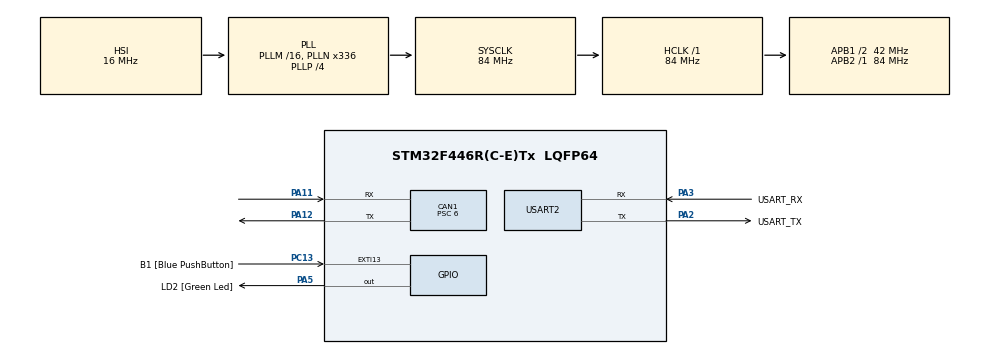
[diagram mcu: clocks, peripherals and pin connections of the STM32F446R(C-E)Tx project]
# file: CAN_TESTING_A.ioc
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CAN1.BS1=CAN_BS1_11TQ
CAN1.BS2=CAN_BS2_2TQ
CAN1.CalculateBaudRate=500000
CAN1.CalculateTimeBit=2000
CAN1.CalculateTimeQuantum=142.85714285714286
CAN1.Prescaler=6
Mcu.Family=STM32F4
Mcu.Name=STM32F446R(C-E)Tx
Mcu.Package=LQFP64
NVIC.PriorityGroup=NVIC_PRIORITYGROUP_0
PA11.GPIO_PuPd=GPIO_PULLUP
PA11.Mode=CAN_Activate
PA11.Signal=CAN1_RX
PA12.Mode=CAN_Activate
PA12.Signal=CAN1_TX
PA13.GPIO_Label=TMS
PA13.Mode=Serial_Wire
PA13.Signal=SYS_JTMS-SWDIO
PA14.GPIO_Label=TCK
PA14.Mode=Serial_Wire
PA14.Signal=SYS_JTCK-SWCLK
PA2.GPIO_Label=USART_TX
PA2.Mode=Asynchronous
PA2.Signal=USART2_TX
PA3.GPIO_Label=USART_RX
PA3.Mode=Asynchronous
PA3.Signal=USART2_RX
PA5.GPIO_Label=LD2 [Green Led]
PA5.Signal=GPIO_Output
PB3.GPIO_Label=SWO
PB3.Signal=SYS_JTDO-SWO
PC13.GPIO_Label=B1 [Blue PushButton]
PC13.GPIO_ModeDefaultEXTI=GPIO_MODE_IT_FALLING
PC13.Signal=GPXTI13
PC14-OSC32_IN.Mode=LSE-External-Oscillator
PC14-OSC32_IN.Signal=RCC_OSC32_IN
PC15-OSC32_OUT.Mode=LSE-External-Oscillator
PC15-OSC32_OUT.Signal=RCC_OSC32_OUT
PH0-OSC_IN.Mode=HSE-External-Oscillator
PH0-OSC_IN.Signal=RCC_OSC_IN
PH1-OSC_OUT.Mode=HSE-External-Oscillator
PH1-OSC_OUT.Signal=RCC_OSC_OUT
ProjectManager.HeapSize=0x200
ProjectManager.StackSize=0x400
ProjectManager.TargetToolchain=STM32CubeIDE
RCC.48MHZClocksFreq_Value=84000000
RCC.AHBFreq_Value=84000000
RCC.APB1CLKDivider=RCC_HCLK_DIV2
RCC.APB1Freq_Value=42000000
RCC.APB1TimFreq_Value=84000000
RCC.APB2Freq_Value=84000000
RCC.APB2TimFreq_Value=84000000
RCC.CortexFreq_Value=84000000
RCC.FLatency-AdvancedSettings=FLASH_LATENCY_2
RCC.HCLKFreq_Value=84000000
RCC.HSE_VALUE=8000000
RCC.HSI_VALUE=16000000
RCC.PLLN=336
RCC.PLLP=RCC_PLLP_DIV4
RCC.SYSCLKFreq_VALUE=84000000
RCC.SYSCLKSource=RCC_SYSCLKSOURCE_PLLCLK
RCC.USBFreq_Value=168000000
RCC.VCOOutputFreq_Value=336000000
USART2.VirtualMode=VM_ASYNC
board=NUCLEO-F446RE

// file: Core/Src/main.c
/* USER CODE BEGIN Header */
/**
  ******************************************************************************
  * @file           : main.c
  * @brief          : Main program body
  ******************************************************************************
  * @attention
  *
  * Copyright (c) 2025 STMicroelectronics.
  * All rights reserved.
  *
  * This software is licensed under terms that can be found in the LICENSE file
  * in the root directory of this software component.
  * If no LICENSE file comes with this software, it is provided AS-IS.
  *
  ******************************************************************************
  */
/* USER CODE END Header */
#include "main.h"

CAN_HandleTypeDef hcan1;

UART_HandleTypeDef huart2;

/* USER CODE BEGIN PV */
uint8_t TxData[8];
uint8_t RxData[48][8];
uint8_t RxIndex;

uint32_t TxMailbox;

CAN_TxHeaderTypeDef TxHeaderB;
CAN_TxHeaderTypeDef TxHeaderC;

CAN_TxHeaderTypeDef TxHeaderWireless;
CAN_RxHeaderTypeDef RxHeader;

uint32_t mailbox;
HAL_StatusTypeDef st;
HAL_StatusTypeDef startStatus;
HAL_CAN_StateTypeDef canState;
uint32_t canErr;
/* USER CODE END PV */

void SystemClock_Config(void);
static void MX_GPIO_Init(void);
static void MX_USART2_UART_Init(void);
static void MX_CAN1_Init(void);

/* USER CODE BEGIN 0 */
void HAL_CAN_RxFifo0MsgPendingCallback(CAN_HandleTypeDef *hcan) {
  HAL_CAN_GetRxMessage(&hcan1, CAN_RX_FIFO0, &RxHeader, RxData[RxIndex]);

  RxIndex = (RxIndex + 1) % 48;

}
/* USER CODE END 0 */

int main(void)
{

  /* MCU Configuration--------------------------------------------------------*/

  /* Reset of all peripherals, Initializes the Flash interface and the Systick. */
  HAL_Init();

  /* Configure the system clock */
  SystemClock_Config();

  /* Initialize all configured peripherals */
  MX_GPIO_Init();
  MX_USART2_UART_Init();
  MX_CAN1_Init();
  /* USER CODE BEGIN 2 */
  startStatus = HAL_CAN_Start(&hcan1);
  canState = HAL_CAN_GetState(&hcan1);
  canErr = HAL_CAN_GetError(&hcan1);
  HAL_CAN_ActivateNotification(&hcan1, CAN_IT_RX_FIFO0_MSG_PENDING);

  TxHeaderB.DLC = 8; //data length
  TxHeaderB.IDE = CAN_ID_STD;
  TxHeaderB.RTR = CAN_RTR_DATA;
  TxHeaderB.StdId = 0x7E3; // my id

  TxHeaderC.DLC = 8; //data length
  TxHeaderC.IDE = CAN_ID_STD;
  TxHeaderC.RTR = CAN_RTR_DATA;
  TxHeaderC.StdId = 0x7E4; // my id

  TxHeaderWireless.DLC = 8;
  TxHeaderWireless.IDE = CAN_ID_STD;
  TxHeaderWireless.RTR = CAN_RTR_DATA;
  TxHeaderWireless.StdId = 0x7E5; // my id

  for(int i = 0; i < 48; i++){
	  for(int j = 0; j < 8; j++)
		  RxData[i][j] = 0x0;
    }

  for(int i = 0; i < 8; i++){
	  TxData[i] = i;
  }

  st = HAL_CAN_AddTxMessage(&hcan1, &TxHeaderWireless, TxData, &mailbox);
  if (st != HAL_OK) {
      // Could not even queue the message
  }

  while (HAL_CAN_IsTxMessagePending(&hcan1, mailbox)) {
      // wait for this transmit attempt to finish
  }

  canState = HAL_CAN_GetState(&hcan1);
  canErr = HAL_CAN_GetError(&hcan1);

  if (canErr == HAL_CAN_ERROR_NONE) {
      // Transmit attempt completed successfully
      // On a normal CAN bus, that means some other node ACKed it
  } else {
      // Transmit attempt failed
      // Possible reasons include no ACK, arbitration loss, bus errors, etc.
  }
//  HAL_CAN_AddTxMessage(&hcan1, &TxHeaderB, TxData, &TxMailbox);
//
//  TxData[0] = 0x06;
//  HAL_CAN_AddTxMessage(&hcan1, &TxHeaderC, TxData, &TxMailbox);
//
//  TxData[0] = 0x07;
//  HAL_CAN_AddTxMessage(&hcan1, &TxHeaderB, TxData, &TxMailbox);
  /* USER CODE END 2 */

  /* Infinite loop */
  while (1)
  {

    /* USER CODE BEGIN 3 */
	HAL_Delay(100);
//	HAL_CAN_AddTxMessage(&hcan1, &TxHeaderWireless, TxData, &TxMailbox);
	st = HAL_CAN_AddTxMessage(&hcan1, &TxHeaderWireless, TxData, &mailbox);
	if (st != HAL_OK) {
	    // Could not even queue the message
	}

	while (HAL_CAN_IsTxMessagePending(&hcan1, mailbox)) {
	    // wait for this transmit attempt to finish
	}

	canState = HAL_CAN_GetState(&hcan1);
	canErr = HAL_CAN_GetError(&hcan1);

	if (canErr == HAL_CAN_ERROR_NONE) {
	    // Transmit attempt completed successfully
	    // On a normal CAN bus, that means some other node ACKed it
	} else {
	    // Transmit attempt failed
	    // Possible reasons include no ACK, arbitration loss, bus errors, etc.
	}
//	TxData[0] = (TxData[0] + 1) % 40;
//	if(TxData[0] % 2 == 1)
//		HAL_CAN_AddTxMessage(&hcan1, &TxHeaderB, TxData, &TxMailbox);
//	else
//		HAL_CAN_AddTxMessage(&hcan1, &TxHeaderC, TxData, &TxMailbox);

  }
  /* USER CODE END 3 */
}

void SystemClock_Config(void)
{
  RCC_OscInitTypeDef RCC_OscInitStruct = {0};
  RCC_ClkInitTypeDef RCC_ClkInitStruct = {0};

  /** Configure the main internal regulator output voltage
  */
  __HAL_RCC_PWR_CLK_ENABLE();
  __HAL_PWR_VOLTAGESCALING_CONFIG(PWR_REGULATOR_VOLTAGE_SCALE3);

  /** Initializes the RCC Oscillators according to the specified parameters
  * in the RCC_OscInitTypeDef structure.
  */
  RCC_OscInitStruct.OscillatorType = RCC_OSCILLATORTYPE_HSI;
  RCC_OscInitStruct.HSIState = RCC_HSI_ON;
  RCC_OscInitStruct.HSICalibrationValue = RCC_HSICALIBRATION_DEFAULT;
  RCC_OscInitStruct.PLL.PLLState = RCC_PLL_ON;
  RCC_OscInitStruct.PLL.PLLSource = RCC_PLLSOURCE_HSI;
  RCC_OscInitStruct.PLL.PLLM = 16;
  RCC_OscInitStruct.PLL.PLLN = 336;
  RCC_OscInitStruct.PLL.PLLP = RCC_PLLP_DIV4;
  RCC_OscInitStruct.PLL.PLLQ = 2;
  RCC_OscInitStruct.PLL.PLLR = 2;
  if (HAL_RCC_OscConfig(&RCC_OscInitStruct) != HAL_OK)
  {
    Error_Handler();
  }

  /** Initializes the CPU, AHB and APB buses clocks
  */
  RCC_ClkInitStruct.ClockType = RCC_CLOCKTYPE_HCLK|RCC_CLOCKTYPE_SYSCLK
                              |RCC_CLOCKTYPE_PCLK1|RCC_CLOCKTYPE_PCLK2;
  RCC_ClkInitStruct.SYSCLKSource = RCC_SYSCLKSOURCE_PLLCLK;
  RCC_ClkInitStruct.AHBCLKDivider = RCC_SYSCLK_DIV1;
  RCC_ClkInitStruct.APB1CLKDivider = RCC_HCLK_DIV2;
  RCC_ClkInitStruct.APB2CLKDivider = RCC_HCLK_DIV1;

  if (HAL_RCC_ClockConfig(&RCC_ClkInitStruct, FLASH_LATENCY_2) != HAL_OK)
  {
    Error_Handler();
  }
}

static void MX_CAN1_Init(void)
{

  hcan1.Instance = CAN1;
  hcan1.Init.Prescaler = 6;
  hcan1.Init.Mode = CAN_MODE_NORMAL;
  hcan1.Init.SyncJumpWidth = CAN_SJW_1TQ;
  hcan1.Init.TimeSeg1 = CAN_BS1_11TQ;
  hcan1.Init.TimeSeg2 = CAN_BS2_2TQ;
  hcan1.Init.TimeTriggeredMode = DISABLE;
  hcan1.Init.AutoBusOff = DISABLE;
  hcan1.Init.AutoWakeUp = DISABLE;
  hcan1.Init.AutoRetransmission = DISABLE;
  hcan1.Init.ReceiveFifoLocked = DISABLE;
  hcan1.Init.TransmitFifoPriority = DISABLE;
  if (HAL_CAN_Init(&hcan1) != HAL_OK)
  {
    Error_Handler();
  }
  /* USER CODE BEGIN CAN1_Init 2 */
  CAN_FilterTypeDef sFilter = {0};
  sFilter.FilterBank = 0;                         // 0..13 on single CAN instance devices
  sFilter.FilterMode = CAN_FILTERMODE_IDMASK;
  sFilter.FilterScale = CAN_FILTERSCALE_32BIT;
  sFilter.FilterIdHigh = 0x0000;
  sFilter.FilterIdLow  = 0x0000;
  sFilter.FilterMaskIdHigh = 0x0000;
  sFilter.FilterMaskIdLow  = 0x0000;
  sFilter.FilterFIFOAssignment = CAN_RX_FIFO0;
  sFilter.FilterActivation = ENABLE;
  sFilter.SlaveStartFilterBank = 14;              // keep default split
  HAL_CAN_ConfigFilter(&hcan1, &sFilter);
  /* USER CODE END CAN1_Init 2 */

}

static void MX_USART2_UART_Init(void)
{

  huart2.Instance = USART2;
  huart2.Init.BaudRate = 115200;
  huart2.Init.WordLength = UART_WORDLENGTH_8B;
  huart2.Init.StopBits = UART_STOPBITS_1;
  huart2.Init.Parity = UART_PARITY_NONE;
  huart2.Init.Mode = UART_MODE_TX_RX;
  huart2.Init.HwFlowCtl = UART_HWCONTROL_NONE;
  huart2.Init.OverSampling = UART_OVERSAMPLING_16;
  if (HAL_UART_Init(&huart2) != HAL_OK)
  {
    Error_Handler();
  }

}

static void MX_GPIO_Init(void)
{
  GPIO_InitTypeDef GPIO_InitStruct = {0};

  /* GPIO Ports Clock Enable */
  __HAL_RCC_GPIOC_CLK_ENABLE();
  __HAL_RCC_GPIOH_CLK_ENABLE();
  __HAL_RCC_GPIOA_CLK_ENABLE();
  __HAL_RCC_GPIOB_CLK_ENABLE();

  /*Configure GPIO pin Output Level */
  HAL_GPIO_WritePin(LD2_GPIO_Port, LD2_Pin, GPIO_PIN_RESET);

  /*Configure GPIO pin : B1_Pin */
  GPIO_InitStruct.Pin = B1_Pin;
  GPIO_InitStruct.Mode = GPIO_MODE_IT_FALLING;
  GPIO_InitStruct.Pull = GPIO_NOPULL;
  HAL_GPIO_Init(B1_GPIO_Port, &GPIO_InitStruct);

  /*Configure GPIO pin : LD2_Pin */
  GPIO_InitStruct.Pin = LD2_Pin;
  GPIO_InitStruct.Mode = GPIO_MODE_OUTPUT_PP;
  GPIO_InitStruct.Pull = GPIO_NOPULL;
  GPIO_InitStruct.Speed = GPIO_SPEED_FREQ_LOW;
  HAL_GPIO_Init(LD2_GPIO_Port, &GPIO_InitStruct);

}

void Error_Handler(void)
{
  __disable_irq();
  while (1)
  {
  }
}
